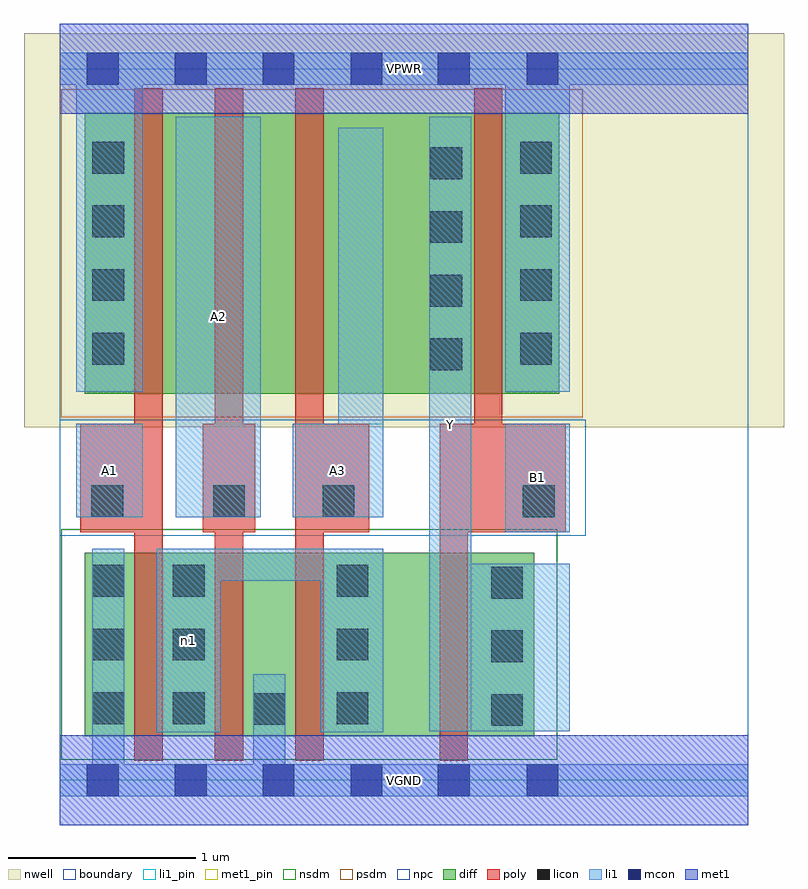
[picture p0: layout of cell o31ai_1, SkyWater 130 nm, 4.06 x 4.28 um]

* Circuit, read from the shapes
.subckt o31ai_1 A1 A2 A3 B1 VGND VPWR Y n1
XM1 n1 A1 VGND VSUBS sky130_fd_pr__nfet_01v8 w=0.98 l=0.15
XM2 VGND A2 n1 VSUBS sky130_fd_pr__nfet_01v8 w=0.98 l=0.15
XM3 n1 A3 VGND VSUBS sky130_fd_pr__nfet_01v8 w=0.98 l=0.15
XM4 Y B1 n1 VSUBS sky130_fd_pr__nfet_01v8 w=0.98 l=0.15
XM5 n2 A1 VPWR n3 sky130_fd_pr__pfet_01v8 w=1.5 l=0.15
XM6 n4 A2 n2 n3 sky130_fd_pr__pfet_01v8 w=1.5 l=0.15
XM7 Y A3 n4 n3 sky130_fd_pr__pfet_01v8 w=1.5 l=0.15
XM8 VPWR B1 Y n3 sky130_fd_pr__pfet_01v8 w=1.5 l=0.15
.ends

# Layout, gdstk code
import gdstk
lib = gdstk.Library(unit=1e-6, precision=1e-09)
def R(c, l, rs):  # rectangles x0, y0, x1, y1
    for r in rs: c.add(gdstk.rectangle(r[:2], r[2:], *l))
def A(c, l, x, y, w, h, nx, ny, dx, dy):  # array of equal rectangles
    R(c, l, [(x+i*dx, y+j*dy, x+i*dx+w, y+j*dy+h) for i in range(nx) for j in range(ny)])
nwell = (64, 20)
diff = (65, 20)
poly = (66, 20)
licon = (66, 44)
li1_pin = (67, 16)
li1 = (67, 20)
mcon = (67, 44)
met1_pin = (68, 16)
met1 = (68, 20)
nsdm = (93, 44)
psdm = (94, 20)
npc = (95, 20)
boundary = (235, 4)

o31ai_1 = lib.new_cell('o31ai_1')
R(o31ai_1, nwell, [(-0.19,1.885,3.87,3.99), (0,1.885,3.68,3.99)])
R(o31ai_1, diff, [(0.135,0.235,2.535,1.215), (0.135,2.065,2.67,3.565)])
A(o31ai_1, poly, 0.4, 0.105, 0.15, 3.59, 3, 1, 0.43, 0)
R(o31ai_1, poly, [(2.03,0.105,2.18,1.905), (0.11,1.325,0.55,1.905), (0.765,1.325,1.045,1.905), (1.26,1.325,1.655,1.905), (2.03,1.325,2.705,1.905), (2.215,1.325,2.365,3.695)])
A(o31ai_1, licon, 2.305, 0.29, 0.17, 0.17, 1, 3, 0, 0.34)
A(o31ai_1, licon, 0.175, 0.3, 0.17, 0.17, 1, 3, 0, 0.34)
A(o31ai_1, licon, 0.605, 0.3, 0.17, 0.17, 1, 3, 0, 0.34)
A(o31ai_1, licon, 1.48, 0.3, 0.17, 0.17, 1, 3, 0, 0.34)
A(o31ai_1, licon, 1.98, 2.19, 0.17, 0.17, 1, 4, 0, 0.34)
A(o31ai_1, licon, 0.175, 2.22, 0.17, 0.17, 1, 4, 0, 0.34)
A(o31ai_1, licon, 2.46, 2.22, 0.17, 0.17, 1, 4, 0, 0.34)
R(o31ai_1, licon, [(1.035,0.295,1.205,0.465), (0.17,1.405,0.34,1.575), (0.82,1.405,0.99,1.575), (1.405,1.405,1.575,1.575), (2.475,1.405,2.645,1.575)])
R(o31ai_1, li1_pin, [(1.975,0.26,2.2,3.545), (2.38,1.325,2.725,1.905), (0.09,1.405,0.445,1.905), (0.62,1.405,1.075,3.545), (1.245,1.405,1.73,1.905)])
R(o31ai_1, li1, [(0,-0.085,3.68,0.085), (0.175,-0.085,0.345,1.235), (1.035,-0.085,1.205,0.565), (0.52,0.255,0.86,1.235), (1.395,0.255,1.73,1.235), (1.975,0.26,2.2,3.545), (1.975,0.26,2.725,1.155), (0.52,1.065,1.73,1.235), (2.38,1.325,2.725,1.905), (0.09,1.405,0.445,1.905), (0.62,1.405,1.075,3.545), (1.245,1.405,1.73,1.905), (1.49,1.405,1.73,3.485), (0.09,2.075,0.445,3.885), (2.38,2.075,2.725,3.885), (0,3.715,3.68,3.885)])
A(o31ai_1, mcon, 0.145, -0.085, 0.17, 0.17, 4, 2, 0.47, 3.8)
R(o31ai_1, mcon, [(2.02,-0.085,2.19,0.085), (2.495,-0.085,2.665,0.085), (2.02,3.715,2.19,3.885), (2.495,3.715,2.665,3.885)])
R(o31ai_1, met1_pin, [(0,-0.24,3.68,0.24), (0,3.56,3.68,4.04)])
R(o31ai_1, met1, [(0,-0.24,3.68,0.24), (0,3.56,3.68,4.04)])
R(o31ai_1, nsdm, [(0.01,0.11,2.66,1.34)])
R(o31ai_1, psdm, [(0.01,1.94,2.795,3.69)])
R(o31ai_1, npc, [(0,1.305,2.81,1.925)])
R(o31ai_1, boundary, [(0,0,3.68,3.8)])
o31ai_1.add(gdstk.Label('A1', (0.267,1.655), layer=67, texttype=5))
o31ai_1.add(gdstk.Label('A2', (0.847,2.475), layer=67, texttype=5))
o31ai_1.add(gdstk.Label('A3', (1.487,1.655), layer=67, texttype=5))
o31ai_1.add(gdstk.Label('B1', (2.552,1.615), layer=67, texttype=5))
o31ai_1.add(gdstk.Label('Y', (2.087,1.902), layer=67, texttype=5))
o31ai_1.add(gdstk.Label('n1', (0.69,0.745), layer=67, texttype=5))
o31ai_1.add(gdstk.Label('VPWR', (1.84,3.8), layer=68, texttype=5))
o31ai_1.add(gdstk.Label('VGND', (1.84,0), layer=68, texttype=5))
o31ai_1.add(gdstk.Label('A1', (0.267,1.655), layer=67, texttype=16))
o31ai_1.add(gdstk.Label('A2', (0.847,2.475), layer=67, texttype=16))
o31ai_1.add(gdstk.Label('A3', (1.487,1.655), layer=67, texttype=16))
o31ai_1.add(gdstk.Label('B1', (2.552,1.615), layer=67, texttype=16))
o31ai_1.add(gdstk.Label('Y', (2.087,1.902), layer=67, texttype=16))
o31ai_1.add(gdstk.Label('VPWR', (1.84,3.8), layer=68, texttype=16))
o31ai_1.add(gdstk.Label('VGND', (1.84,0), layer=68, texttype=16))

lib.write_gds('o31ai_1.gds')
